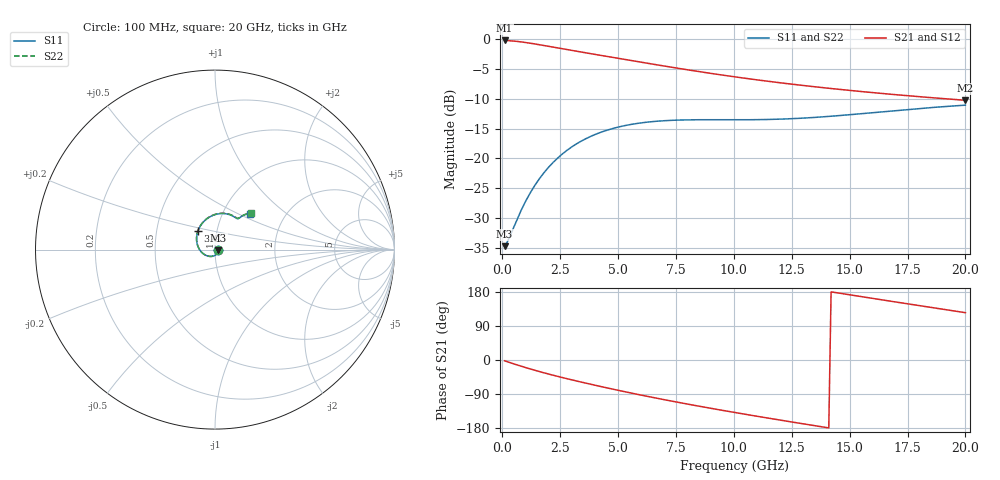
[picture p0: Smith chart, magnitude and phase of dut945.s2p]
! Touchstone file exported from HFSS 2024.1.0
!  File:  C:/UserFiles/LocalFiles/RDL_TSV_Batchsim/temp_RDL_TSV_945_1779963861.aedt
!  Generated:  06:36:51 PM May 28, 2026
!  Design:  RDL_TSV
!  Project:  temp_RDL_TSV_945_1779963861
!  Setup:  Setup1
!  Solution:  Sweep
! Variables:
!  dtsv = 13um
!  hbump = 3um
!  htsv = 92.57um
!  ldown = 224.82um
!  lrdl = 611.56um
!  p = 40
!  p1 = 40.62um
!  rhole = 10um
!  subl = 3120.7um
!  t = 450um
!  tdown = 3.14um
!  trdl = 3um
!  viad = 10um
!  wdown = 14.17um
!  wrdl = 23.63um
!  xbump = 18um
# GHz S MA R 50.000000
! Terminal data exported
! Port[1] = TM1_1_T1
! Port[2] = TM1_4_T1
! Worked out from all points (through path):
!   200 points, 100 MHz to 20 GHz, reference 50 ohm
!   highest |S21| = -0.16 dB at 100 MHz (marker M1); lowest = -10.2 dB at 20 GHz (marker M2)
!   group delay of S21, straight-line fit = 31 ps
!   lowest |S11| = -34.7 dB at 100 MHz (marker M3), VSWR 1.04, Z = 51.8 - j0.486 ohm
!   |S11| at or under -10 dB: start of sweep to end of sweep
!   |S22| runs from -34.7 to -11.0 dB; largest |S21 - S12| = 5.4e-14
!   S11 on the Smith chart (normalised r, x): 100 MHz: 1.04, -0.01; 3.4 GHz: 0.81, +0.17; 20 GHz: 1.35, +0.58
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0.1  0.01832 -14.8  0.9814 -2.1  0.9814 -2.1  0.01832 -14.8
! Gamma 0 0 0 0
! Port Impedance 50 0 50 0
0.3  0.02155 -44.2  0.9766 -6.3  0.9766 -6.3  0.02154 -44.2
0.5  0.02661 -70.3  0.9693 -10.3  0.9693 -10.3  0.0266 -70.3
1  0.04341 -118.8  0.9437 -19.8  0.9437 -19.8  0.04343 -118.9
1.6  0.0675 -158.3  0.9041 -30.5  0.9041 -30.5  0.06766 -158.5
2  0.08442 -178.3  0.8761 -37.1  0.8761 -37.1  0.08472 -178.5
2.4  0.1012 165.1  0.8486 -43.4  0.8486 -43.4  0.1017 164.9
2.9  0.1213 147.7  0.8158 -50.9  0.8158 -50.9  0.1219 147.5
3.4  0.1396 133.3  0.7848 -58.2  0.7848 -58.2  0.1405 133.1
3.5  0.143 130.7  0.7787 -59.6  0.7787 -59.6  0.1439 130.5
4.2  0.1645 114.6  0.7382 -69.3  0.7382 -69.3  0.1657 114.5
5  0.1835 99.8  0.6947 -80.0  0.6947 -80.0  0.1849 99.8
5.9  0.198 86.7  0.649 -91.4  0.649 -91.4  0.1997 86.7
6.8  0.2065 76.5  0.6068 -102.4  0.6068 -102.4  0.2083 76.5
8.4  0.2116 64.0  0.5408 -120.8  0.5408 -120.8  0.2136 64.0
10.1  0.2115 56.8  0.4834 -139.2  0.4834 -139.2  0.2136 56.8
11.7  0.2132 53.8  0.4398 -155.6  0.4398 -155.6  0.2154 53.8
13.4  0.2208 52.5  0.4023 -172.4  0.4023 -172.4  0.223 52.5
15  0.2332 51.7  0.3733 172.1  0.3733 172.1  0.2356 51.7
16.7  0.2498 50.1  0.3476 155.8  0.3476 155.8  0.2522 50.2
18.4  0.2666 47.8  0.3259 139.8  0.3259 139.8  0.2693 47.9
20  0.2806 45.2  0.3084 124.9  0.3084 124.9  0.2834 45.3
